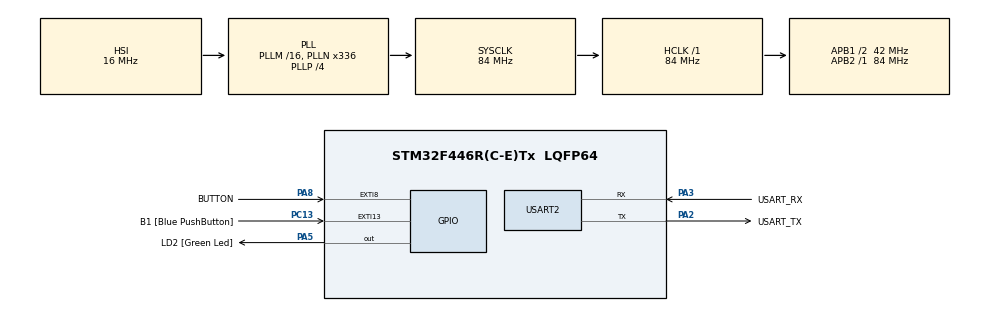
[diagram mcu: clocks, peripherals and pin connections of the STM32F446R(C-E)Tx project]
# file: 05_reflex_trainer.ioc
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Mcu.Family=STM32F4
Mcu.Name=STM32F446R(C-E)Tx
Mcu.Package=LQFP64
NVIC.EXTI9_5_IRQn=true\:0\:0\:false\:false\:true\:true\:true\:true
NVIC.PriorityGroup=NVIC_PRIORITYGROUP_0
PA13.GPIO_Label=TMS
PA13.Signal=SYS_JTMS-SWDIO
PA14.GPIO_Label=TCK
PA14.Signal=SYS_JTCK-SWCLK
PA2.GPIO_Label=USART_TX
PA2.Mode=Asynchronous
PA2.Signal=USART2_TX
PA3.GPIO_Label=USART_RX
PA3.Mode=Asynchronous
PA3.Signal=USART2_RX
PA5.GPIO_Label=LD2 [Green Led]
PA5.Signal=GPIO_Output
PA8.GPIO_Label=BUTTON
PA8.GPIO_ModeDefaultEXTI=GPIO_MODE_IT_FALLING
PA8.GPIO_PuPd=GPIO_PULLUP
PA8.Signal=GPXTI8
PB3.GPIO_Label=SWO
PB3.Signal=SYS_JTDO-SWO
PC13.GPIO_Label=B1 [Blue PushButton]
PC13.GPIO_ModeDefaultEXTI=GPIO_MODE_IT_FALLING
PC13.Signal=GPXTI13
PC14-OSC32_IN.Signal=RCC_OSC32_IN
PC15-OSC32_OUT.Signal=RCC_OSC32_OUT
PH0-OSC_IN.Signal=RCC_OSC_IN
PH1-OSC_OUT.Signal=RCC_OSC_OUT
ProjectManager.HeapSize=0x200
ProjectManager.StackSize=0x400
ProjectManager.TargetToolchain=STM32CubeIDE
RCC.AHBFreq_Value=84000000
RCC.APB1CLKDivider=RCC_HCLK_DIV2
RCC.APB1Freq_Value=42000000
RCC.APB1TimFreq_Value=84000000
RCC.APB2Freq_Value=84000000
RCC.APB2TimFreq_Value=84000000
RCC.CortexFreq_Value=84000000
RCC.FLatency-AdvancedSettings=FLASH_LATENCY_2
RCC.HCLKFreq_Value=84000000
RCC.HSE_VALUE=8000000
RCC.HSI_VALUE=16000000
RCC.LSE_VALUE=32768
RCC.PLLN=336
RCC.PLLP=RCC_PLLP_DIV4
RCC.SYSCLKFreq_VALUE=84000000
RCC.SYSCLKSource=RCC_SYSCLKSOURCE_PLLCLK
RCC.USBFreq_Value=168000000
RCC.VCOOutputFreq_Value=336000000
TIM2.Prescaler=83
USART2.VirtualMode=VM_ASYNC
VP_TIM2_VS_ClockSourceINT.Mode=Internal
board=NUCLEO-F446RE

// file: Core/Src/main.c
/* USER CODE BEGIN Header */
/**
  ******************************************************************************
  * @file           : main.c
  * @brief          : Main program body
  ******************************************************************************
  * @attention
  *
  * Copyright (c) 2026 STMicroelectronics.
  * All rights reserved.
  *
  * This software is licensed under terms that can be found in the LICENSE file
  * in the root directory of this software component.
  * If no LICENSE file comes with this software, it is provided AS-IS.
  *
  ******************************************************************************
  */
/* USER CODE END Header */
#include "main.h"

/* USER CODE BEGIN Includes */
#include <stdio.h>
#include <stdlib.h>

/* USER CODE END Includes */

/* USER CODE BEGIN PTD */
/* The three moments of one round. */
typedef enum
{
  STATE_IDLE,      /* waiting for the player to start a round */
  STATE_WAITING,   /* random delay running, LED off */
  STATE_GO         /* LED on, measuring the reaction */
} GameState;

/* USER CODE END PTD */

/* USER CODE BEGIN PD */
#define DEBOUNCE_US   20000U     /* 20 ms of quiet before trusting a press */
#define MIN_WAIT_US   1000000U   /* shortest random delay: 1 s */
#define MAX_WAIT_US   4000000U   /* longest random delay: 4 s */
#define BLINK_MS      100U       /* LED blink period on a false start */

/* USER CODE END PD */

TIM_HandleTypeDef htim2;

UART_HandleTypeDef huart2;

/* USER CODE BEGIN PV */
volatile uint8_t  button_event = 0;    /* set by the interrupt */
volatile uint32_t last_edge_us = 0;    /* TIM2 count at the last edge */

GameState state = STATE_IDLE;
uint8_t  seeded = 0;                   /* 1 after srand() was called */
uint32_t wait_start_us = 0;            /* when the random delay began */
uint32_t wait_us = 0;                  /* length of this random delay */
uint32_t go_us = 0;                    /* when LD2 was switched on */
uint32_t best_us = UINT32_MAX;         /* best reaction of the session */

/* USER CODE END PV */

void SystemClock_Config(void);
static void MX_GPIO_Init(void);
static void MX_TIM2_Init(void);
static void MX_USART2_UART_Init(void);
/* USER CODE BEGIN PFP */
static uint8_t button_pressed(uint32_t now_us, uint32_t *press_us);
static void false_start_blink(void);

/* USER CODE END PFP */

/* USER CODE BEGIN 0 */
/* Same debounce as 04: a press counts once the pin has been quiet for
   DEBOUNCE_US and still reads low. Returns 1 and the time of the last
   edge (when the contact settled) through press_us. */
static uint8_t button_pressed(uint32_t now_us, uint32_t *press_us)
{
  if (button_event && ((now_us - last_edge_us) >= DEBOUNCE_US))
  {
    button_event = 0;

    if (HAL_GPIO_ReadPin(BUTTON_GPIO_Port, BUTTON_Pin) == GPIO_PIN_RESET)
    {
      *press_us = last_edge_us;
      return 1;
    }
  }
  return 0;
}

/* Blinks LD2 quickly three times to show the round was lost. */
static void false_start_blink(void)
{
  for (uint8_t i = 0; i < 6U; i++)
  {
    HAL_GPIO_TogglePin(LD2_GPIO_Port, LD2_Pin);
    HAL_Delay(BLINK_MS);
  }
  HAL_GPIO_WritePin(LD2_GPIO_Port, LD2_Pin, GPIO_PIN_RESET);
  button_event = 0;                    /* ignore presses made meanwhile */
}

/* USER CODE END 0 */

int main(void)
{

  /* MCU Configuration--------------------------------------------------------*/

  /* Reset of all peripherals, Initializes the Flash interface and the Systick. */
  HAL_Init();

  /* Configure the system clock */
  SystemClock_Config();

  /* Initialize all configured peripherals */
  MX_GPIO_Init();
  MX_TIM2_Init();
  MX_USART2_UART_Init();
  /* USER CODE BEGIN 2 */
  setvbuf(stdout, NULL, _IONBF, 0);
  HAL_TIM_Base_Start(&htim2);

  printf("\r\nReflex Trainer. Press the button to start a round.\r\n");

  /* USER CODE END 2 */

  /* Infinite loop */
  while (1)
  {

    /* USER CODE BEGIN 3 */
    uint32_t now_us = __HAL_TIM_GET_COUNTER(&htim2);
    uint32_t press_us;
    uint8_t pressed = button_pressed(now_us, &press_us);

    switch (state)
    {
      case STATE_IDLE:
        if (pressed)
        {
          /* The F446 has no hardware random number generator. The
             moment of the first press, in microseconds, is different
             every time, so it makes a good seed. */
          if (!seeded)
          {
            srand(press_us);
            seeded = 1;
          }
          wait_us = MIN_WAIT_US
                    + ((uint32_t)rand() % (MAX_WAIT_US - MIN_WAIT_US + 1U));
          wait_start_us = now_us;
          printf("Get ready...\r\n");
          state = STATE_WAITING;
        }
        break;

      case STATE_WAITING:
        if (pressed)
        {
          printf("False start! Wait for the LED.\r\n");
          false_start_blink();
          state = STATE_IDLE;
        }
        else if ((now_us - wait_start_us) >= wait_us)
        {
          HAL_GPIO_WritePin(LD2_GPIO_Port, LD2_Pin, GPIO_PIN_SET);
          go_us = __HAL_TIM_GET_COUNTER(&htim2);
          state = STATE_GO;
        }
        break;

      case STATE_GO:
        if (pressed)
        {
          HAL_GPIO_WritePin(LD2_GPIO_Port, LD2_Pin, GPIO_PIN_RESET);

          /* The debounce confirms a press DEBOUNCE_US after its last
             edge, so a press that settled just before the LED came on
             only shows up here. Its edge is older than go_us: it is
             still a false start, not a huge reaction time. */
          if ((int32_t)(press_us - go_us) < 0)
          {
            printf("False start! Wait for the LED.\r\n");
            false_start_blink();
          }
          else
          {
            uint32_t reaction_us = press_us - go_us;

            if (reaction_us < best_us)
            {
              best_us = reaction_us;
            }
            printf("Reaction: %lu.%03lu ms  (best: %lu.%03lu ms)\r\n",
                   reaction_us / 1000U, reaction_us % 1000U,
                   best_us / 1000U, best_us % 1000U);
            printf("Press to play again.\r\n");
          }
          state = STATE_IDLE;
        }
        break;
    }
  }
  /* USER CODE END 3 */
}

void SystemClock_Config(void)
{
  RCC_OscInitTypeDef RCC_OscInitStruct = {0};
  RCC_ClkInitTypeDef RCC_ClkInitStruct = {0};

  /** Configure the main internal regulator output voltage
  */
  __HAL_RCC_PWR_CLK_ENABLE();
  __HAL_PWR_VOLTAGESCALING_CONFIG(PWR_REGULATOR_VOLTAGE_SCALE3);

  /** Initializes the RCC Oscillators according to the specified parameters
  * in the RCC_OscInitTypeDef structure.
  */
  RCC_OscInitStruct.OscillatorType = RCC_OSCILLATORTYPE_HSI;
  RCC_OscInitStruct.HSIState = RCC_HSI_ON;
  RCC_OscInitStruct.HSICalibrationValue = RCC_HSICALIBRATION_DEFAULT;
  RCC_OscInitStruct.PLL.PLLState = RCC_PLL_ON;
  RCC_OscInitStruct.PLL.PLLSource = RCC_PLLSOURCE_HSI;
  RCC_OscInitStruct.PLL.PLLM = 16;
  RCC_OscInitStruct.PLL.PLLN = 336;
  RCC_OscInitStruct.PLL.PLLP = RCC_PLLP_DIV4;
  RCC_OscInitStruct.PLL.PLLQ = 2;
  RCC_OscInitStruct.PLL.PLLR = 2;
  if (HAL_RCC_OscConfig(&RCC_OscInitStruct) != HAL_OK)
  {
    Error_Handler();
  }

  /** Initializes the CPU, AHB and APB buses clocks
  */
  RCC_ClkInitStruct.ClockType = RCC_CLOCKTYPE_HCLK|RCC_CLOCKTYPE_SYSCLK
                              |RCC_CLOCKTYPE_PCLK1|RCC_CLOCKTYPE_PCLK2;
  RCC_ClkInitStruct.SYSCLKSource = RCC_SYSCLKSOURCE_PLLCLK;
  RCC_ClkInitStruct.AHBCLKDivider = RCC_SYSCLK_DIV1;
  RCC_ClkInitStruct.APB1CLKDivider = RCC_HCLK_DIV2;
  RCC_ClkInitStruct.APB2CLKDivider = RCC_HCLK_DIV1;

  if (HAL_RCC_ClockConfig(&RCC_ClkInitStruct, FLASH_LATENCY_2) != HAL_OK)
  {
    Error_Handler();
  }
}

static void MX_TIM2_Init(void)
{

  TIM_ClockConfigTypeDef sClockSourceConfig = {0};
  TIM_MasterConfigTypeDef sMasterConfig = {0};

  htim2.Instance = TIM2;
  htim2.Init.Prescaler = 83;
  htim2.Init.CounterMode = TIM_COUNTERMODE_UP;
  htim2.Init.Period = 4294967295;
  htim2.Init.ClockDivision = TIM_CLOCKDIVISION_DIV1;
  htim2.Init.AutoReloadPreload = TIM_AUTORELOAD_PRELOAD_DISABLE;
  if (HAL_TIM_Base_Init(&htim2) != HAL_OK)
  {
    Error_Handler();
  }
  sClockSourceConfig.ClockSource = TIM_CLOCKSOURCE_INTERNAL;
  if (HAL_TIM_ConfigClockSource(&htim2, &sClockSourceConfig) != HAL_OK)
  {
    Error_Handler();
  }
  sMasterConfig.MasterOutputTrigger = TIM_TRGO_RESET;
  sMasterConfig.MasterSlaveMode = TIM_MASTERSLAVEMODE_DISABLE;
  if (HAL_TIMEx_MasterConfigSynchronization(&htim2, &sMasterConfig) != HAL_OK)
  {
    Error_Handler();
  }

}

static void MX_USART2_UART_Init(void)
{

  huart2.Instance = USART2;
  huart2.Init.BaudRate = 115200;
  huart2.Init.WordLength = UART_WORDLENGTH_8B;
  huart2.Init.StopBits = UART_STOPBITS_1;
  huart2.Init.Parity = UART_PARITY_NONE;
  huart2.Init.Mode = UART_MODE_TX_RX;
  huart2.Init.HwFlowCtl = UART_HWCONTROL_NONE;
  huart2.Init.OverSampling = UART_OVERSAMPLING_16;
  if (HAL_UART_Init(&huart2) != HAL_OK)
  {
    Error_Handler();
  }

}

static void MX_GPIO_Init(void)
{
  GPIO_InitTypeDef GPIO_InitStruct = {0};

  /* GPIO Ports Clock Enable */
  __HAL_RCC_GPIOC_CLK_ENABLE();
  __HAL_RCC_GPIOH_CLK_ENABLE();
  __HAL_RCC_GPIOA_CLK_ENABLE();
  __HAL_RCC_GPIOB_CLK_ENABLE();

  /*Configure GPIO pin Output Level */
  HAL_GPIO_WritePin(LD2_GPIO_Port, LD2_Pin, GPIO_PIN_RESET);

  /*Configure GPIO pin : B1_Pin */
  GPIO_InitStruct.Pin = B1_Pin;
  GPIO_InitStruct.Mode = GPIO_MODE_IT_FALLING;
  GPIO_InitStruct.Pull = GPIO_NOPULL;
  HAL_GPIO_Init(B1_GPIO_Port, &GPIO_InitStruct);

  /*Configure GPIO pin : LD2_Pin */
  GPIO_InitStruct.Pin = LD2_Pin;
  GPIO_InitStruct.Mode = GPIO_MODE_OUTPUT_PP;
  GPIO_InitStruct.Pull = GPIO_NOPULL;
  GPIO_InitStruct.Speed = GPIO_SPEED_FREQ_LOW;
  HAL_GPIO_Init(LD2_GPIO_Port, &GPIO_InitStruct);

  /*Configure GPIO pin : BUTTON_Pin */
  GPIO_InitStruct.Pin = BUTTON_Pin;
  GPIO_InitStruct.Mode = GPIO_MODE_IT_FALLING;
  GPIO_InitStruct.Pull = GPIO_PULLUP;
  HAL_GPIO_Init(BUTTON_GPIO_Port, &GPIO_InitStruct);

  /* EXTI interrupt init*/
  HAL_NVIC_SetPriority(EXTI9_5_IRQn, 0, 0);
  HAL_NVIC_EnableIRQ(EXTI9_5_IRQn);

}

/* USER CODE BEGIN 4 */
/* printf() goes out through USART2, one character at a time. */
int __io_putchar(int ch)
{
  HAL_UART_Transmit(&huart2, (uint8_t *)&ch, 1, HAL_MAX_DELAY);
  return ch;
}

/* Runs on every falling edge of PA8: just record when it happened. */
void HAL_GPIO_EXTI_Callback(uint16_t GPIO_Pin)
{
  if (GPIO_Pin == BUTTON_Pin)
  {
    last_edge_us = __HAL_TIM_GET_COUNTER(&htim2);
    button_event = 1;
  }
}

/* USER CODE END 4 */

void Error_Handler(void)
{
  __disable_irq();
  while (1)
  {
  }
}
